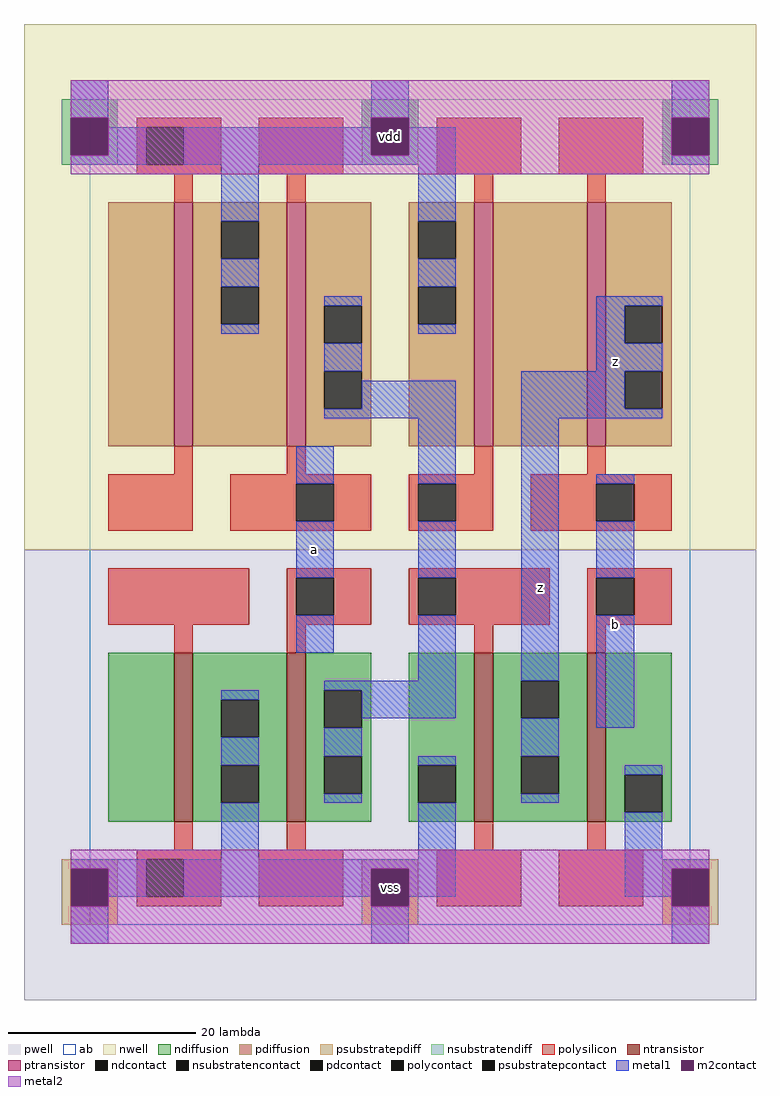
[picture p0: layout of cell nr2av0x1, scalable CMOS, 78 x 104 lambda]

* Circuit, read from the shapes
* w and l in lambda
.subckt nr2av0x1 a b vdd vss z
M1 vss vss n1 vss nfet w=18 l=2
M2 n2 a vss vss nfet w=18 l=2
M3 z n2 vss vss nfet w=18 l=2
M4 vss b z vss nfet w=18 l=2
M5 vdd vdd n3 vdd pfet w=26 l=2
M6 n2 a vdd vdd pfet w=26 l=2
M7 n4 n2 vdd vdd pfet w=26 l=2
M8 z b n4 vdd pfet w=26 l=2
.ends

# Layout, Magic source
magic
tech scmos
<< ab >>
rect 0 0 64 88
<< pwell >>
rect -7 -8 71 40
<< nwell >>
rect -7 40 71 96
<< polysilicon >>
rect 5 85 14 86
rect 5 81 6 85
rect 10 81 14 85
rect 5 80 14 81
rect 18 80 27 86
rect 37 80 46 86
rect 50 80 59 86
rect 9 77 11 80
rect 21 77 23 80
rect 41 77 43 80
rect 53 77 55 80
rect 9 48 11 51
rect 21 48 23 51
rect 41 48 43 51
rect 53 48 55 51
rect 2 42 11 48
rect 15 47 30 48
rect 15 43 22 47
rect 26 43 30 47
rect 15 42 30 43
rect 34 47 43 48
rect 34 43 35 47
rect 39 43 43 47
rect 34 42 43 43
rect 47 47 62 48
rect 47 43 54 47
rect 58 43 62 47
rect 47 42 62 43
rect 2 32 17 38
rect 21 37 30 38
rect 21 33 22 37
rect 26 33 30 37
rect 21 32 30 33
rect 34 37 49 38
rect 34 33 35 37
rect 39 33 49 37
rect 34 32 49 33
rect 53 37 62 38
rect 53 33 54 37
rect 58 33 62 37
rect 53 32 62 33
rect 9 29 11 32
rect 21 29 23 32
rect 41 29 43 32
rect 53 29 55 32
rect 9 8 11 11
rect 21 8 23 11
rect 41 8 43 11
rect 53 8 55 11
rect 5 7 14 8
rect 5 3 6 7
rect 10 3 14 7
rect 5 2 14 3
rect 18 2 27 8
rect 37 2 46 8
rect 50 2 59 8
<< ndiffusion >>
rect 2 11 9 29
rect 11 24 21 29
rect 11 20 14 24
rect 18 20 21 24
rect 11 17 21 20
rect 11 13 14 17
rect 18 13 21 17
rect 11 11 21 13
rect 23 25 30 29
rect 23 21 25 25
rect 29 21 30 25
rect 23 18 30 21
rect 23 14 25 18
rect 29 14 30 18
rect 23 11 30 14
rect 34 17 41 29
rect 34 13 35 17
rect 39 13 41 17
rect 34 11 41 13
rect 43 26 53 29
rect 43 22 46 26
rect 50 22 53 26
rect 43 18 53 22
rect 43 14 46 18
rect 50 14 53 18
rect 43 11 53 14
rect 55 16 62 29
rect 55 12 57 16
rect 61 12 62 16
rect 55 11 62 12
<< pdiffusion >>
rect 2 51 9 77
rect 11 75 21 77
rect 11 71 14 75
rect 18 71 21 75
rect 11 68 21 71
rect 11 64 14 68
rect 18 64 21 68
rect 11 51 21 64
rect 23 66 30 77
rect 23 62 25 66
rect 29 62 30 66
rect 23 59 30 62
rect 23 55 25 59
rect 29 55 30 59
rect 23 51 30 55
rect 34 75 41 77
rect 34 71 35 75
rect 39 71 41 75
rect 34 68 41 71
rect 34 64 35 68
rect 39 64 41 68
rect 34 51 41 64
rect 43 51 53 77
rect 55 66 62 77
rect 55 62 57 66
rect 61 62 62 66
rect 55 59 62 62
rect 55 55 57 59
rect 61 55 62 59
rect 55 51 62 55
<< metal1 >>
rect -2 86 2 90
rect 30 86 34 90
rect 2 82 6 85
rect -2 81 6 82
rect 10 82 30 85
rect 62 86 66 90
rect 34 82 39 85
rect 10 81 39 82
rect 62 81 66 82
rect 14 75 18 81
rect 14 68 18 71
rect 35 75 39 81
rect 35 68 39 71
rect 14 63 18 64
rect 25 66 29 67
rect 35 63 39 64
rect 54 66 61 67
rect 25 59 29 62
rect 54 62 57 66
rect 54 59 61 62
rect 29 55 39 58
rect 25 54 39 55
rect 22 47 26 51
rect 22 37 26 43
rect 22 29 26 33
rect 35 47 39 54
rect 35 37 39 43
rect 35 26 39 33
rect 25 25 39 26
rect 14 24 18 25
rect 14 17 18 20
rect 29 22 39 25
rect 46 55 57 59
rect 46 54 61 55
rect 46 26 50 54
rect 25 18 29 21
rect 46 18 50 22
rect 54 47 58 48
rect 54 37 58 43
rect 54 21 58 33
rect 25 13 29 14
rect 35 17 39 18
rect 46 13 50 14
rect 57 16 61 17
rect 14 7 18 13
rect 35 7 39 13
rect -2 6 6 7
rect 2 3 6 6
rect 10 6 39 7
rect 10 3 30 6
rect -2 -2 2 2
rect 34 3 39 6
rect 57 7 61 12
rect 57 6 66 7
rect 57 3 62 6
rect 30 -2 34 2
rect 62 -2 66 2
<< metal2 >>
rect -2 86 66 90
rect 2 82 30 86
rect 34 82 62 86
rect -2 80 66 82
rect -2 6 66 8
rect 2 2 30 6
rect 34 2 62 6
rect -2 -2 66 2
<< ntransistor >>
rect 9 11 11 29
rect 21 11 23 29
rect 41 11 43 29
rect 53 11 55 29
<< ptransistor >>
rect 9 51 11 77
rect 21 51 23 77
rect 41 51 43 77
rect 53 51 55 77
<< polycontact >>
rect 6 81 10 85
rect 22 43 26 47
rect 35 43 39 47
rect 54 43 58 47
rect 22 33 26 37
rect 35 33 39 37
rect 54 33 58 37
rect 6 3 10 7
<< ndcontact >>
rect 14 20 18 24
rect 14 13 18 17
rect 25 21 29 25
rect 25 14 29 18
rect 35 13 39 17
rect 46 22 50 26
rect 46 14 50 18
rect 57 12 61 16
<< pdcontact >>
rect 14 71 18 75
rect 14 64 18 68
rect 25 62 29 66
rect 25 55 29 59
rect 35 71 39 75
rect 35 64 39 68
rect 57 62 61 66
rect 57 55 61 59
<< m2contact >>
rect -2 82 2 86
rect 30 82 34 86
rect 62 82 66 86
rect -2 2 2 6
rect 30 2 34 6
rect 62 2 66 6
<< psubstratepcontact >>
rect -2 2 2 6
rect 30 2 34 6
rect 62 2 66 6
<< nsubstratencontact >>
rect -2 82 2 86
rect 30 82 34 86
rect 62 82 66 86
<< psubstratepdiff >>
rect -3 6 3 7
rect -3 2 -2 6
rect 2 2 3 6
rect 29 6 35 7
rect 29 2 30 6
rect 34 2 35 6
rect 61 6 67 7
rect 61 2 62 6
rect 66 2 67 6
rect -3 0 3 2
rect 29 0 35 2
rect 61 0 67 2
<< nsubstratendiff >>
rect -3 86 3 88
rect 29 86 35 88
rect 61 86 67 88
rect -3 82 -2 86
rect 2 82 3 86
rect -3 81 3 82
rect 29 82 30 86
rect 34 82 35 86
rect 29 81 35 82
rect 61 82 62 86
rect 66 82 67 86
rect 61 81 67 82
<< labels >>
rlabel metal1 24 40 24 40 6 a
rlabel metal1 48 36 48 36 6 z
rlabel metal1 56 32 56 32 6 b
rlabel metal1 56 60 56 60 6 z
rlabel m2contact 32 4 32 4 6 vss
rlabel m2contact 32 84 32 84 6 vdd
<< end >>
